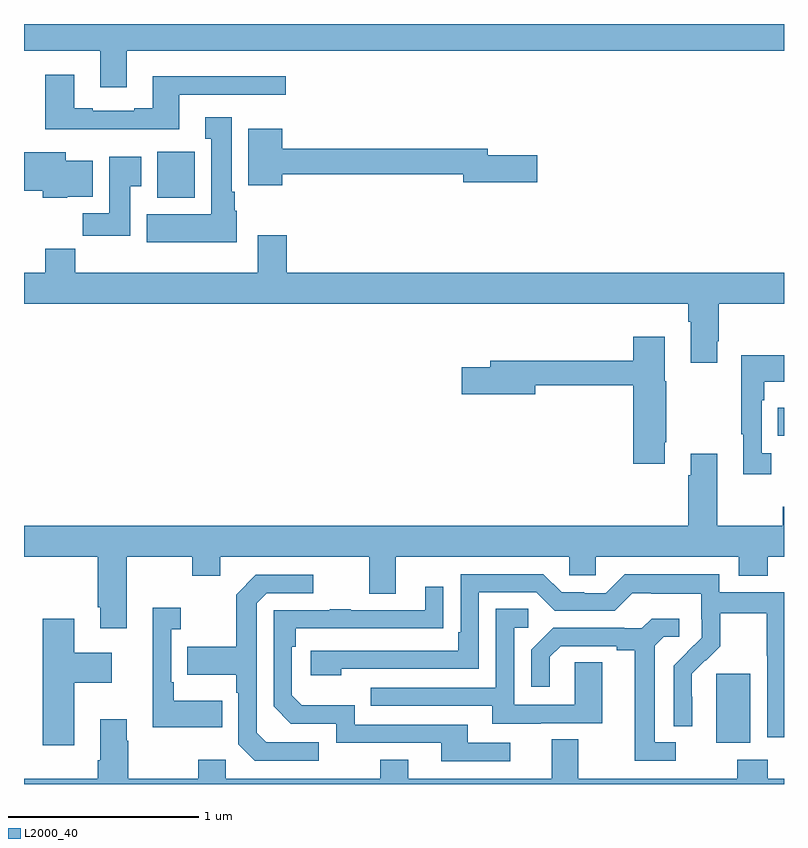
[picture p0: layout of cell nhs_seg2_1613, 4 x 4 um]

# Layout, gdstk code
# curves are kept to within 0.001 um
import gdstk
lib = gdstk.Library(unit=1e-6, precision=1e-09)
def R(c, l, rs):  # rectangles x0, y0, x1, y1
    for r in rs: c.add(gdstk.rectangle(r[:2], r[2:], *l))
def P(c, l, *ps):  # polygons
    for p in ps: c.add(gdstk.Polygon(p, *l))
L2000_40 = (2000, 40)

nhs_seg2_1613 = lib.new_cell('nhs_seg2_1613')
R(nhs_seg2_1613, L2000_40, [(198.644,620.018,198.823,620.379), (198.967,621.634,199,621.781), (195.701,622.886,195.898,623.128)])
P(nhs_seg2_1613, L2000_40, [(195.541,623.66),(199,623.66),(199,623.8),(195,623.8),(195,623.66),(195.401,623.66),(195.401,623.466),(195.541,623.466)],
  [(195.817,623.427),(196.378,623.427),(196.378,623.524),(195.677,623.524),(195.677,623.356),(195.581,623.356),(195.581,623.343),(195.361,623.343),(195.361,623.356),(195.265,623.356),(195.265,623.533),(195.113,623.533),(195.113,623.246),(195.817,623.246)],
  [(196.12,622.818),(196.108,622.818),(196.108,622.918),(196.093,622.918),(196.093,623.308),(195.953,623.308),(195.953,623.195),(195.986,623.195),(195.986,622.798),(195.647,622.798),(195.647,622.652),(196.12,622.652)],
  [(196.36,623.008),(197.312,623.008),(197.312,622.966),(197.701,622.966),(197.701,623.108),(197.44,623.108),(197.44,623.144),(196.36,623.144),(196.36,623.248),(196.181,623.248),(196.181,622.952),(196.36,622.952)],
  [(195.228,622.892),(195.361,622.892),(195.361,623.08),(195.22,623.08),(195.22,623.124),(195,623.124),(195,622.922),(195.098,622.922),(195.098,622.886),(195.228,622.886)],
  [(195.559,622.945),(195.616,622.945),(195.616,623.101),(195.449,623.101),(195.449,622.804),(195.31,622.804),(195.31,622.686),(195.559,622.686)],
  [(198.497,622.232),(198.509,622.232),(198.509,622.017),(198.649,622.017),(198.649,622.129),(198.657,622.129),(198.657,622.328),(199,622.328),(199,622.492),(196.382,622.492),(196.382,622.687),(196.229,622.687),(196.229,622.492),(195.269,622.492),(195.269,622.616),(195.113,622.616),(195.113,622.492),(195,622.492),(195,622.328),(198.497,622.328)],
  [(198.373,621.598),(198.381,621.598),(198.381,621.921),(198.373,621.921),(198.373,622.153),(198.206,622.153),(198.206,622.027),(197.453,622.027),(197.453,621.993),(197.304,621.993),(197.304,621.851),(197.692,621.851),(197.692,621.898),(198.206,621.898),(198.206,621.486),(198.373,621.486)],
  [(198.934,621.542),(198.882,621.542),(198.882,621.821),(198.895,621.821),(198.895,621.917),(199,621.917),(199,622.057),(198.774,622.057),(198.774,621.641),(198.785,621.641),(198.785,621.429),(198.934,621.429)],
  [(195.541,620.996),(195.886,620.996),(195.886,620.897),(196.033,620.897),(196.033,620.996),(196.817,620.996),(196.817,620.802),(196.957,620.802),(196.957,620.996),(197.871,620.996),(197.871,620.898),(198.009,620.898),(198.009,620.996),(198.761,620.996),(198.761,620.897),(198.914,620.897),(198.914,620.996),(199,620.996),(199,621.259),(198.994,621.259),(198.994,621.16),(198.649,621.16),(198.649,621.538),(198.509,621.538),(198.509,621.425),(198.497,621.425),(198.497,621.16),(195,621.16),(195,620.996),(195.389,620.996),(195.389,620.731),(195.401,620.731),(195.401,620.619),(195.541,620.619)],
  [(199,620.808),(198.66,620.808),(198.66,620.905),(198.163,620.905),(198.063,620.805),(197.948,620.805),(197.948,620.808),(197.829,620.808),(197.733,620.904),(197.298,620.904),(197.298,620.599),(197.285,620.599),(197.285,620.502),(196.509,620.502),(196.509,620.372),(196.67,620.372),(196.67,620.406),(197.394,620.406),(197.394,620.808),(197.697,620.808),(197.793,620.712),(198.108,620.712),(198.201,620.805),(198.301,620.805),(198.301,620.801),(198.564,620.801),(198.564,620.667),(198.566,620.667),(198.566,620.57),(198.42,620.422),(198.42,620.104),(198.516,620.104),(198.515,620.381),(198.585,620.451),(198.588,620.448),(198.665,620.525),(198.665,620.7),(198.91,620.7),(198.91,620.476),(198.912,620.476),(198.912,620.047),(199,620.047)],
  [(196.552,620.019),(196.275,620.019),(196.224,620.07),(196.224,620.751),(196.278,620.805),(196.522,620.805),(196.522,620.901),(196.221,620.901),(196.116,620.795),(196.116,620.523),(195.859,620.523),(195.859,620.375),(196.116,620.375),(196.116,620.279),(196.128,620.279),(196.128,620.01),(196.215,619.923),(196.552,619.923)],
  [(197.56,620.016),(197.335,620.016),(197.335,620.112),(196.74,620.112),(196.74,620.215),(196.463,620.215),(196.41,620.268),(196.41,620.522),(196.43,620.522),(196.43,620.619),(197.207,620.62),(197.207,620.839),(197.111,620.839),(197.111,620.715),(196.721,620.715),(196.721,620.72),(196.609,620.72),(196.609,620.715),(196.314,620.715),(196.314,620.208),(196.404,620.118),(196.644,620.118),(196.644,620.016),(197.195,620.016),(197.195,619.92),(197.56,619.92)],
  [(196.043,620.239),(195.787,620.239),(195.787,620.335),(195.774,620.335),(195.774,620.615),(195.826,620.615),(195.826,620.728),(195.677,620.728),(195.677,620.099),(196.043,620.099)],
  [(197.719,620.121),(198.043,620.121),(198.043,620.441),(197.898,620.441),(197.898,620.217),(197.58,620.217),(197.58,620.622),(197.653,620.622),(197.653,620.723),(197.484,620.723),(197.484,620.307),(196.825,620.307),(196.825,620.211),(197.465,620.211),(197.465,620.117),(197.719,620.117)],
  [(195.265,620.333),(195.463,620.333),(195.463,620.491),(195.265,620.491),(195.265,620.671),(195.098,620.671),(195.098,620.004),(195.265,620.004)],
  [(198.43,620.019),(198.319,620.019),(198.319,620.527),(198.366,620.574),(198.448,620.574),(198.448,620.671),(198.304,620.671),(198.252,620.619),(198.158,620.619),(198.158,620.622),(197.786,620.622),(197.67,620.506),(197.67,620.313),(197.767,620.313),(197.767,620.469),(197.824,620.526),(198.119,620.526),(198.119,620.504),(198.215,620.504),(198.215,619.923),(198.43,619.923)],
  [(199,619.828),(198.914,619.828),(198.914,619.927),(198.754,619.927),(198.754,619.828),(197.917,619.828),(197.917,620.036),(197.777,620.036),(197.777,619.828),(197.023,619.828),(197.023,619.927),(196.876,619.927),(196.876,619.828),(196.062,619.828),(196.062,619.927),(195.916,619.927),(195.916,619.828),(195.549,619.828),(195.549,620.027),(195.541,620.027),(195.541,620.14),(195.401,620.14),(195.401,619.924),(195.389,619.924),(195.389,619.828),(195,619.828),(195,619.8),(199,619.8)])

lib.write_gds('nhs_seg2_1613.gds')
